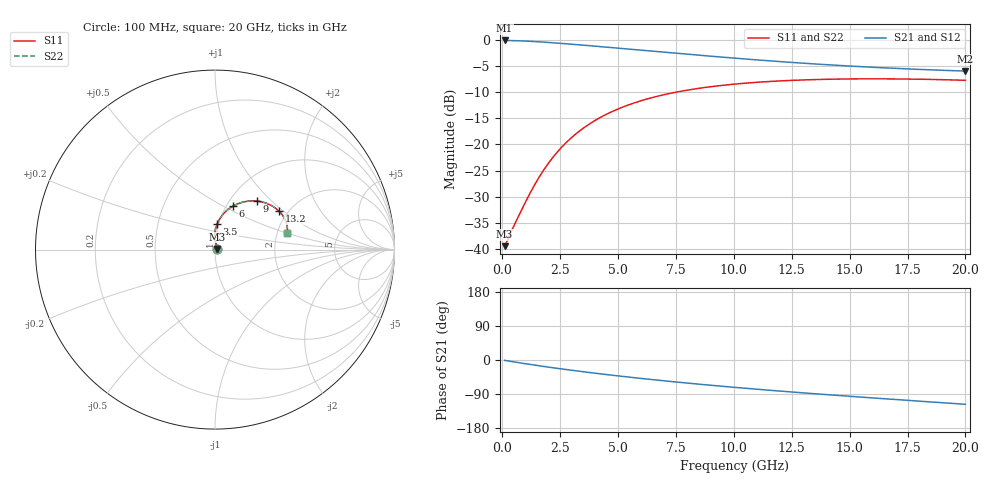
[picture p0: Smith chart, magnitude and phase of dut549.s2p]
! Touchstone file exported from HFSS 2024.1.0
!  File:  C:/UserFiles/LocalFiles/RDL_TSV_Batchsim/temp_RDL_TSV_549_1779749255.aedt
!  Generated:  07:03:07 AM May 26, 2026
!  Design:  RDL_TSV
!  Project:  temp_RDL_TSV_549_1779749255
!  Setup:  Setup1
!  Solution:  Sweep
! Variables:
!  dtsv = 6.33um
!  hbump = 3um
!  htsv = 50.71um
!  ldown = 188.99um
!  lrdl = 277.31um
!  p = 40
!  p1 = 50.97um
!  rhole = 10um
!  subl = 1676.21um
!  t = 450um
!  tdown = 3.54um
!  trdl = 3.03um
!  viad = 10um
!  wdown = 16.78um
!  wrdl = 23.57um
!  xbump = 18um
# GHz S MA R 50.000000
! Terminal data exported
! Port[1] = TM1_1_T1
! Port[2] = TM1_4_T1
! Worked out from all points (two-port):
!   200 points, 100 MHz to 20 GHz, reference 50 ohm
!   highest |S21| = -0.09 dB at 100 MHz (marker M1); lowest = -5.9 dB at 20 GHz (marker M2)
!   |S21| within 3 dB of the highest: start of sweep to 8.969 GHz
!   lowest |S11| = -39.5 dB at 100 MHz (marker M3), VSWR 1.02, Z = 51 + j0.296 ohm
!   |S11| at or under -10 dB: start of sweep to 7.49 GHz
!   |S22| runs from -39.5 to -7.4 dB; largest |S21 - S12| = 1.1e-14
!   S11 on the Smith chart (normalised r, x): 100 MHz: 1.02, +0.01; 3.5 GHz: 0.98, +0.29; 6 GHz: 1.07, +0.56; 9 GHz: 1.32, +0.82; 13.2 GHz: 1.80, +0.93; 20 GHz: 2.27, +0.49
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0.1  0.01064 15.8  0.9896 -1.0  0.9896 -1.0  0.01064 15.8
! Gamma 0 0 0 0
! Port Impedance 50 0 50 0
0.5  0.01664 52.9  0.9854 -5.0  0.9854 -5.0  0.01664 52.9
1.1  0.03106 79.3  0.9739 -10.7  0.9739 -10.7  0.03106 79.3
1.5  0.04507 87.2  0.9632 -14.4  0.9632 -14.4  0.04507 87.2
1.8  0.05751 89.9  0.9539 -17.1  0.9539 -17.1  0.05751 89.9
2.2  0.07603 91.0  0.9403 -20.6  0.9403 -20.6  0.07603 91.0
2.6  0.09604 90.2  0.9259 -23.9  0.9259 -23.9  0.09604 90.2
3  0.1169 88.4  0.9109 -27.2  0.9109 -27.2  0.1169 88.4
3.5  0.1433 85.4  0.892 -31.1  0.892 -31.1  0.1433 85.4
4  0.1694 81.9  0.873 -34.8  0.873 -34.8  0.1694 81.9
4.6  0.1996 77.5  0.8504 -39.2  0.8504 -39.2  0.1996 77.5
5.3  0.2326 72.4  0.8244 -44.0  0.8244 -44.0  0.2325 72.4
6  0.2626 67.4  0.7989 -48.7  0.7989 -48.7  0.2626 67.4
6.8  0.2931 62.1  0.7708 -53.8  0.7708 -53.8  0.2931 62.1
7.8  0.3257 55.9  0.7372 -59.8  0.7372 -59.8  0.3257 55.9
9  0.3571 49.2  0.6996 -66.7  0.6996 -66.7  0.3571 49.2
10.1  0.3795 43.7  0.6682 -72.6  0.6682 -72.6  0.3795 43.7
11.6  0.4015 37.1  0.6301 -80.1  0.6301 -80.1  0.4015 37.1
13.2  0.4161 30.9  0.5954 -87.7  0.5954 -87.7  0.4161 31.0
13.4  0.4174 30.2  0.5914 -88.6  0.5914 -88.6  0.4174 30.2
16.7  0.4245 20.2  0.5385 -103.1  0.5385 -103.1  0.4245 20.2
20  0.4114 12.7  0.5041 -116.9  0.5041 -116.9  0.4113 12.8
